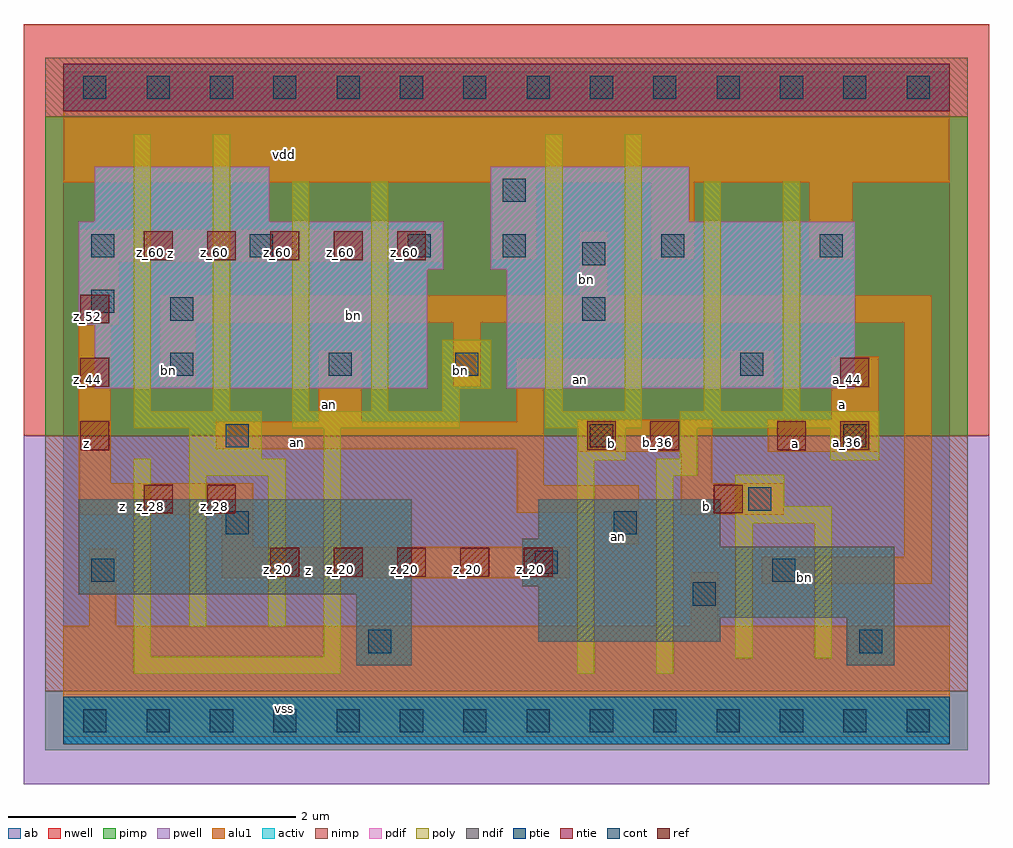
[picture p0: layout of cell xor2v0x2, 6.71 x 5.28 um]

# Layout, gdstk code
import gdstk
lib = gdstk.Library(unit=1e-6, precision=2.5e-09)
def R(c, l, rs):  # rectangles x0, y0, x1, y1
    for r in rs: c.add(gdstk.rectangle(r[:2], r[2:], *l))
def A(c, l, x, y, w, h, nx, ny, dx, dy):  # array of equal rectangles
    R(c, l, [(x+i*dx, y+j*dy, x+i*dx+w, y+j*dy+h) for i in range(nx) for j in range(ny)])
ndif = (3, 0)
pdif = (4, 0)
ntie = (5, 0)
ptie = (6, 0)
ref = (24, 0)
cont = (25, 0)
pwell = (41, 0)
nwell = (42, 0)
activ = (43, 0)
pimp = (44, 0)
nimp = (45, 0)
poly = (46, 0)
alu1 = (49, 0)
ab = (63, 0)

xor2v0x2 = lib.new_cell('xor2v0x2')
R(xor2v0x2, ndif, [(2.035,0.385,2.42,0.88), (5.445,0.385,5.775,0.715), (3.3,0.55,4.565,0.715), (3.3,0.715,5.775,0.935), (0.11,0.88,2.42,1.54), (3.19,0.935,5.775,1.21), (3.19,1.21,4.565,1.265), (3.3,1.265,4.565,1.54)])
R(xor2v0x2, pdif, [(0.22,2.31,2.53,2.75), (3.08,2.31,5.5,3.135), (0.11,2.75,2.53,3.135), (0.11,3.135,2.64,3.465), (2.97,3.135,5.5,3.465), (0.22,3.465,1.43,3.85), (2.97,3.465,4.345,3.85)])
R(xor2v0x2, ntie, [(0,4.235,6.16,4.565)])
R(xor2v0x2, ptie, [(0,-0.165,6.16,0.165)])
A(xor2v0x2, ref, 1.44, 1, 0.2, 0.2, 5, 1, 0.44, 0)
A(xor2v0x2, ref, 0.12, 1.88, 0.2, 0.2, 1, 3, 0, 0.44)
A(xor2v0x2, ref, 0.56, 3.2, 0.2, 0.2, 5, 1, 0.44, 0)
R(xor2v0x2, ref, [(0.56,1.44,0.76,1.64), (1,1.44,1.2,1.64), (4.52,1.44,4.72,1.64), (3.64,1.88,3.84,2.08), (4.08,1.88,4.28,2.08), (4.96,1.88,5.16,2.08), (5.4,1.88,5.6,2.08), (5.4,2.32,5.6,2.52)])
A(xor2v0x2, cont, 0.14, -0.08, 0.16, 0.16, 14, 2, 0.44, 4.4)
A(xor2v0x2, cont, 0.195, 3.22, 0.16, 0.16, 3, 1, 1.1, 0)
A(xor2v0x2, cont, 3.055, 3.22, 0.16, 0.16, 3, 1, 1.1, 0)
R(xor2v0x2, cont, [(2.12,0.47,2.28,0.63), (5.53,0.47,5.69,0.63), (4.375,0.8,4.535,0.96), (0.195,0.965,0.355,1.125), (4.925,0.965,5.085,1.125), (3.275,1.02,3.435,1.18), (1.13,1.295,1.29,1.455), (3.825,1.295,3.985,1.455), (4.76,1.46,4.92,1.62), (1.13,1.9,1.29,2.06), (3.66,1.9,3.82,2.06), (5.42,1.9,5.58,2.06), (0.745,2.395,0.905,2.555), (1.845,2.395,2.005,2.555), (2.725,2.395,2.885,2.555), (4.705,2.395,4.865,2.555), (0.745,2.78,0.905,2.94), (3.605,2.78,3.765,2.94), (0.195,2.835,0.355,2.995), (3.605,3.165,3.765,3.325), (3.055,3.605,3.215,3.765)])
R(xor2v0x2, pwell, [(-0.275,-0.44,6.435,1.98)])
R(xor2v0x2, nwell, [(-0.275,1.98,6.435,4.84)])
R(xor2v0x2, activ, [(0,-0.165,6.16,0.165), (2.035,0.385,2.42,0.88), (5.445,0.385,5.775,0.715), (3.3,0.55,4.565,0.715), (3.3,0.715,5.775,0.935), (0.11,0.88,2.42,1.54), (3.19,0.935,5.775,1.21), (3.19,1.21,4.565,1.265), (3.3,1.265,4.565,1.54), (0.22,2.31,2.53,2.75), (3.08,2.31,5.5,3.135), (0.11,2.75,2.53,3.135), (0.11,3.135,2.64,3.465), (2.97,3.135,5.5,3.465), (0.22,3.465,1.43,3.85), (2.97,3.465,4.345,3.85), (0,4.235,6.16,4.565)])
R(xor2v0x2, pimp, [(-0.125,-0.205,6.285,0.205), (-0.125,1.98,6.285,4.195)])
R(xor2v0x2, nimp, [(-0.125,0.205,6.285,1.98), (-0.125,4.195,6.285,4.605)])
R(xor2v0x2, poly, [(0.49,0.325,1.93,0.445), (3.57,0.325,3.69,1.81), (4.12,0.325,4.24,1.7), (4.67,0.435,4.79,1.37), (5.22,0.435,5.34,1.37), (0.49,0.445,0.61,1.82), (1.81,0.445,1.93,2.03), (0.875,0.655,0.995,1.7), (1.425,0.655,1.545,1.7), (4.67,1.37,5.34,1.49), (4.67,1.49,5.01,1.71), (0.875,1.7,1.545,1.82), (4.12,1.7,4.405,1.82), (3.57,1.81,3.91,2.03), (5.33,1.81,5.67,2.03), (0.875,1.82,1.38,2.03), (4.285,1.82,4.405,2.03), (0.49,2.03,1.38,2.15), (1.59,2.03,2.755,2.15), (3.35,2.03,4.02,2.15), (4.285,2.03,5.67,2.15), (0.49,2.15,0.61,4.075), (1.04,2.15,1.16,4.075), (1.59,2.15,1.71,3.745), (2.14,2.15,2.26,3.745), (2.635,2.15,2.755,2.305), (3.35,2.15,3.47,4.075), (3.9,2.15,4.02,4.075), (4.45,2.15,4.57,3.745), (5,2.15,5.12,3.745), (2.635,2.305,2.975,2.645)])
A(xor2v0x2, alu1, 2.985, 3.205, 0.3, 0.535, 3, 1, 1.1, 0)
R(xor2v0x2, alu1, [(0,-0.11,6.16,0.66), (0.18,0.66,0.37,1.195), (4.36,0.66,4.55,1.03), (4.855,0.95,6.035,1.14), (1.1,0.99,3.52,1.21), (5.845,1.14,6.035,2.765), (1.1,1.21,1.32,1.43), (3.81,1.225,4,1.445), (0.11,1.43,1.32,1.65), (4.29,1.43,5.005,1.65), (3.15,1.445,4,1.635), (3.15,1.635,3.34,1.885), (0.11,1.65,0.33,2.75), (4.29,1.65,4.51,1.87), (3.575,1.87,4.51,2.09), (4.895,1.87,5.665,2.09), (1.06,1.885,3.34,2.075), (1.775,2.075,2.075,2.57), (3.15,2.075,3.34,2.325), (5.335,2.09,5.665,2.53), (0.675,2.325,0.92,2.765), (2.71,2.325,2.9,2.765), (3.15,2.325,4.935,2.515), (4.635,2.515,4.935,2.57), (0.11,2.75,0.385,3.19), (0.675,2.765,6.035,2.955), (3.59,2.955,3.78,3.395), (0.11,3.19,2.64,3.41), (0,3.74,6.16,4.51)])
R(xor2v0x2, ab, [(0,0,6.16,4.4)])
xor2v0x2.add(gdstk.Label('vss', (1.54,0.0825), layer=49, texttype=0))
xor2v0x2.add(gdstk.Label('bn', (5.15,0.9975), layer=49, texttype=0))
xor2v0x2.add(gdstk.Label('z', (1.705,1.045), layer=49, texttype=0))
xor2v0x2.add(gdstk.Label('b', (4.4675,1.485), layer=49, texttype=0))
xor2v0x2.add(gdstk.Label('an', (3.8575,1.28), layer=49, texttype=0))
xor2v0x2.add(gdstk.Label('a', (5.0875,1.925), layer=49, texttype=0))
xor2v0x2.add(gdstk.Label('b', (3.8075,1.925), layer=49, texttype=0))
xor2v0x2.add(gdstk.Label('z', (0.4125,1.485), layer=49, texttype=0))
xor2v0x2.add(gdstk.Label('an', (1.63,1.9325), layer=49, texttype=0))
xor2v0x2.add(gdstk.Label('a', (5.4175,2.2), layer=49, texttype=0))
xor2v0x2.add(gdstk.Label('an', (3.595,2.3725), layer=49, texttype=0))
xor2v0x2.add(gdstk.Label('bn', (2.7575,2.435), layer=49, texttype=0))
xor2v0x2.add(gdstk.Label('an', (1.85,2.1975), layer=49, texttype=0))
xor2v0x2.add(gdstk.Label('bn', (0.735,2.435), layer=49, texttype=0))
xor2v0x2.add(gdstk.Label('z', (0.165,1.925), layer=49, texttype=0))
xor2v0x2.add(gdstk.Label('bn', (2.015,2.8125), layer=49, texttype=0))
xor2v0x2.add(gdstk.Label('bn', (3.6375,3.065), layer=49, texttype=0))
xor2v0x2.add(gdstk.Label('z', (0.7425,3.245), layer=49, texttype=0))
xor2v0x2.add(gdstk.Label('vdd', (1.54,3.9325), layer=49, texttype=0))
xor2v0x2.add(gdstk.Label('a_36', (5.01,1.93), layer=24, texttype=0))
xor2v0x2.add(gdstk.Label('b_28', (4.57,1.49), layer=24, texttype=0))
xor2v0x2.add(gdstk.Label('b_36', (4.13,1.93), layer=24, texttype=0))
xor2v0x2.add(gdstk.Label('b_36', (3.69,1.93), layer=24, texttype=0))
xor2v0x2.add(gdstk.Label('z_20', (3.25,1.05), layer=24, texttype=0))
xor2v0x2.add(gdstk.Label('z_20', (2.81,1.05), layer=24, texttype=0))
xor2v0x2.add(gdstk.Label('z_60', (2.37,3.25), layer=24, texttype=0))
xor2v0x2.add(gdstk.Label('z_20', (2.37,1.05), layer=24, texttype=0))
xor2v0x2.add(gdstk.Label('z_52', (0.17,2.81), layer=24, texttype=0))
xor2v0x2.add(gdstk.Label('z_44', (0.17,2.37), layer=24, texttype=0))
xor2v0x2.add(gdstk.Label('z_36', (0.17,1.93), layer=24, texttype=0))
xor2v0x2.add(gdstk.Label('z_60', (1.93,3.25), layer=24, texttype=0))
xor2v0x2.add(gdstk.Label('z_20', (1.93,1.05), layer=24, texttype=0))
xor2v0x2.add(gdstk.Label('z_60', (1.49,3.25), layer=24, texttype=0))
xor2v0x2.add(gdstk.Label('z_20', (1.49,1.05), layer=24, texttype=0))
xor2v0x2.add(gdstk.Label('z_60', (1.05,3.25), layer=24, texttype=0))
xor2v0x2.add(gdstk.Label('z_28', (1.05,1.49), layer=24, texttype=0))
xor2v0x2.add(gdstk.Label('z_60', (0.61,3.25), layer=24, texttype=0))
xor2v0x2.add(gdstk.Label('z_28', (0.61,1.49), layer=24, texttype=0))
xor2v0x2.add(gdstk.Label('a_44', (5.45,2.37), layer=24, texttype=0))
xor2v0x2.add(gdstk.Label('a_36', (5.45,1.93), layer=24, texttype=0))

lib.write_gds('xor2v0x2.gds')
